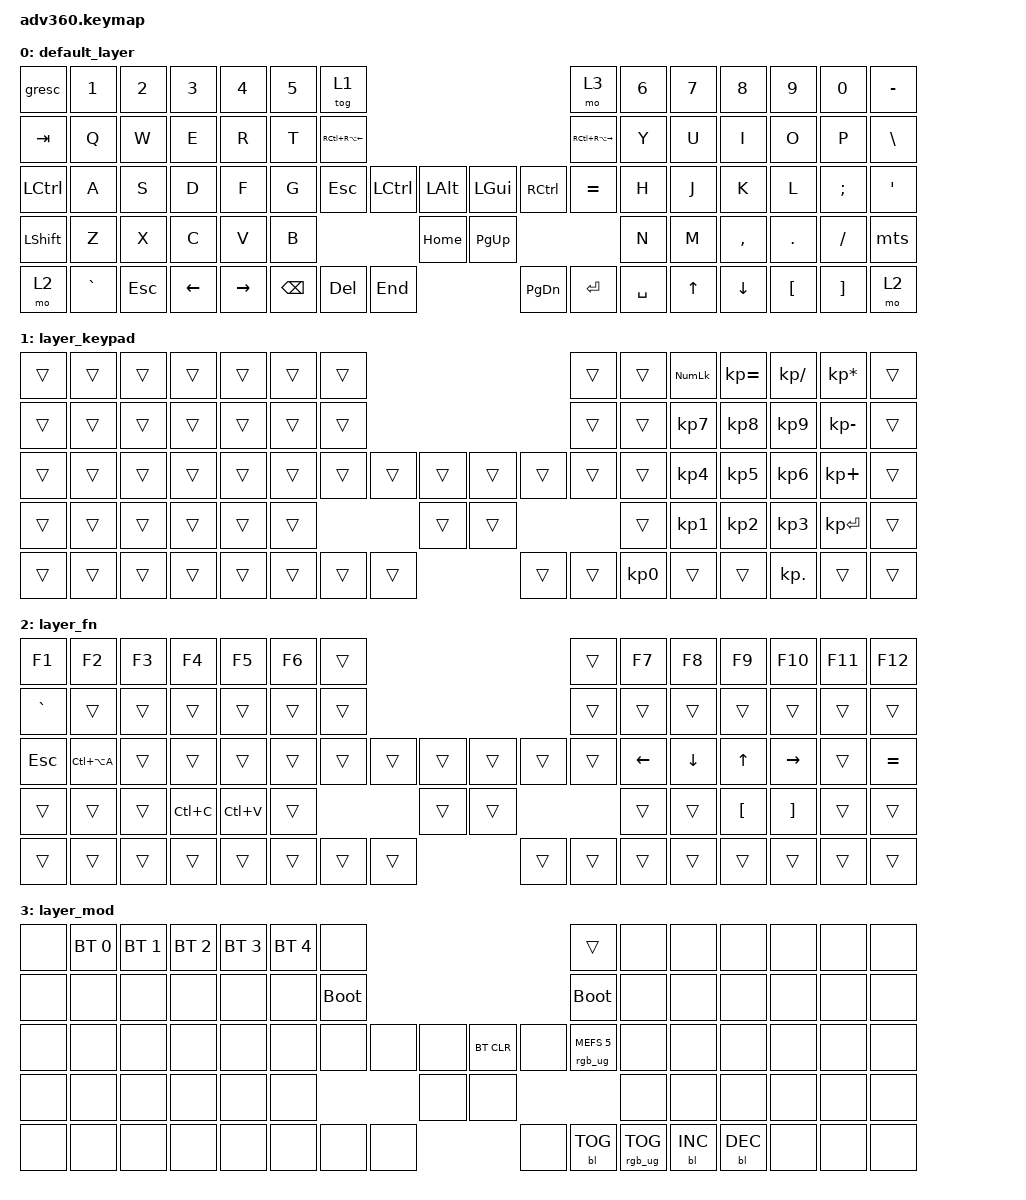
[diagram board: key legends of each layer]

/*
 * Copyright (c) 2020 The ZMK Contributors
 *
 * SPDX-License-Identifier: MIT
 */



#include <behaviors.dtsi>
#include <dt-bindings/zmk/keys.h>
#include <dt-bindings/zmk/bt.h>
#include <dt-bindings/zmk/rgb.h>
#include <dt-bindings/zmk/backlight.h>

/ {
    behaviors {
      #include "macros.dtsi"
      #include "version.dtsi"
      #ifndef VERSION_MACRO
      macro_ver: macro_ver {
        compatible = "zmk,behavior-macro";
        label = "macro_version";
        #binding-cells = <0>;
        bindings = <&kp RET>;
      };
      #endif

      hm: homerow_mods {
          compatible = "zmk,behavior-hold-tap";
          label = "HOMEROW_MODS";
          #binding-cells = <2>;
          tapping-term-ms = <200>;
          quick_tap_ms = <175>;
          flavor = "tap-preferred";
          bindings = <&kp>, <&kp>;
      };
      mts: ls_rs {
	  compatible = "zmk,behavior-tap-dance";
          #binding-cells = <0>;
	  tapping-term-ms = <0>;
	  bindings = <&kp RSHIFT>, <&kp LSHIFT>;
      };
      gresc: grave_escape {
          compatible = "zmk,behavior-mod-morph";
          #binding-cells = <0>;
          bindings = <&kp ESC>, <&kp GRAVE>;
          mods = <(MOD_LGUI|MOD_LSFT|MOD_RGUI|MOD_RSFT)>;
          keep-mods = <(MOD_LSFT)>;
        };
    };

  keymap {
    compatible = "zmk,keymap";

        default_layer {
            bindings = <
&gresc     &kp N1     &kp N2  &kp N3   &kp N4  &kp N5   &tog 1                                                                    &mo 3              &kp N6  &kp N7 &kp N8    &kp N9   &kp N0    &kp MINUS
&kp TAB    &kp Q      &kp W   &kp E    &kp R   &kp T    &kp RC(RA(LEFT))                                                          &kp RC(RA(RIGHT))  &kp Y   &kp U  &kp I     &kp O    &kp P     &kp BSLH
&kp LCTRL  &kp A      &kp S   &kp D    &kp F   &kp G    &kp ESC            &kp LCTRL  &kp LALT        &kp LGUI   &kp RCTRL        &kp EQUAL          &kp H   &kp J  &kp K     &kp L    &kp SEMI  &kp SQT
&kp LSHFT  &kp Z      &kp X   &kp C    &kp V   &kp B                                  &kp HOME        &kp PG_UP                                      &kp N   &kp M  &kp COMMA &kp DOT  &kp FSLH  &mts
&mo 2      &kp GRAVE  &kp ESC &kp LEFT &kp RIGHT                  &kp BSPC &kp DEL    &kp END         &kp PG_DN  &kp ENTER  &kp SPACE                        &kp UP &kp DOWN  &kp LBKT &kp RBKT  &mo 2
            >;
        };

        layer_keypad {
            bindings = <
&trans  &trans  &trans  &trans  &trans  &trans    &trans                                                        &trans  &trans   &kp KP_NUM    &kp KP_EQUAL   &kp KP_DIVIDE  &kp KP_MULTIPLY  &trans
&trans  &trans  &trans  &trans  &trans  &trans    &trans                                                        &trans  &trans   &kp KP_N7     &kp KP_N8      &kp KP_N9      &kp KP_MINUS     &trans
&trans  &trans  &trans  &trans  &trans  &trans    &trans       &trans  &trans       &trans  &trans              &trans  &trans   &kp KP_N4     &kp KP_N5      &kp KP_N6      &kp KP_PLUS      &trans
&trans  &trans  &trans  &trans  &trans  &trans                         &trans       &trans                              &trans   &kp KP_N1     &kp KP_N2      &kp KP_N3      &kp KP_ENTER     &trans
&trans  &trans  &trans  &trans  &trans                 &trans  &trans  &trans       &trans  &trans  &kp KP_N0                    &trans        &trans         &kp KP_DOT     &trans           &trans
            >;
        };

        layer_fn {
            bindings = <
&kp F1    &kp F2         &kp F3  &kp F4     &kp F5     &kp F6    &trans                                                         &trans   &kp F7    &kp F8    &kp F9     &kp F10      &kp F11  &kp F12
&kp GRAVE &trans         &trans  &trans     &trans     &trans    &trans                                                         &trans   &trans    &trans    &trans     &trans       &trans   &trans
&kp ESC   &kp LC(LA(A))  &trans  &trans     &trans     &trans    &trans         &trans  &trans         &trans  &trans           &trans   &kp LEFT  &kp DOWN  &kp UP     &kp RIGHT    &trans   &kp EQUAL
&trans    &trans         &trans  &kp LC(C)  &kp LC(V)  &trans                           &trans         &trans                            &trans    &trans    &kp LBKT   &kp RBKT     &trans   &trans
&trans    &trans         &trans  &trans     &trans                      &trans  &trans  &trans         &trans  &trans  &trans                      &trans    &trans     &trans       &trans   &trans
            >;
        };

        layer_mod {
            bindings = <
&none  &bt BT_SEL 0  &bt BT_SEL 1  &bt BT_SEL 2  &bt BT_SEL 3  &bt BT_SEL 4 &none                                                                   &trans                   &none   &none       &none        &none   &none   &none
&none  &none         &none         &none         &none         &none        &bootloader                                                             &bootloader              &none   &none       &none        &none   &none   &none
&none  &none         &none         &none         &none         &none        &none         &none   &none          &bt BT_CLR &none                   &rgb_ug RGB_MEFS_CMD 5   &none   &none       &none        &none   &none   &none
&none  &none         &none         &none         &none         &none                              &none          &none                                                       &none   &none       &none        &none   &none   &none
&none  &none         &none         &none         &none                            &none   &none   &none          &none      &bl BL_TOG   &rgb_ug RGB_TOG                             &bl BL_INC  &bl BL_DEC   &none   &none   &none
            >;
        };

    };
};
